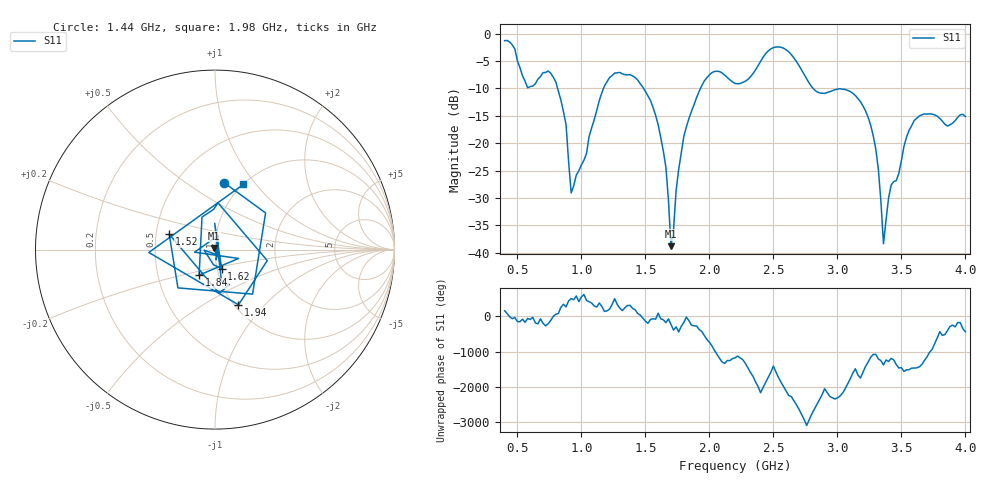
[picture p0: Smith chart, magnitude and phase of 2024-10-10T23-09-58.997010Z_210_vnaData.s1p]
! Created with skrf (http://scikit-rf.org).
# Hz S RI R 50.0
!freq ReS11 ImS11
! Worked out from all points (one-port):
!   181 points, 400 MHz to 4 GHz, reference 50 ohm
!   lowest |S11| = -38.8 dB at 1.7 GHz (marker M1), VSWR 1.02, Z = 49.2 + j0.846 ohm
!   |S11| at or under -10 dB: 813.8 MHz to 1.173 GHz (358.8 MHz wide, 36.1 % of centre); 1.486 GHz to 1.931 GHz (444.7 MHz wide, 26 % of centre); 2.81 GHz to end of sweep
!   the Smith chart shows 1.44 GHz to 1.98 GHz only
!   S11 on the Smith chart (normalised r, x): 1.44 GHz: 0.82, +0.72; 1.52 GHz: 0.59, +0.11; 1.62 GHz: 1.05, -0.23; 1.84 GHz: 0.81, -0.24; 1.94 GHz: 1.05, -0.72; 1.98 GHz: 1.00, +0.86
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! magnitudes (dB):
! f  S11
! 400 MHz  -1.3
! 580 MHz  -9.9
! 760 MHz  -7.2
! 860 MHz  -14.3
! 880 MHz  -16.6
! 920 MHz  -29.1
! 1.18 GHz  -9.6
! 1.3 GHz  -7.1
! 1.44 GHz  -8.5
! 1.52 GHz  -11.4
! 1.62 GHz  -19.0
! 1.66 GHz  -24.4
! 1.7 GHz  -38.8
! 1.76 GHz  -24.8
! 1.84 GHz  -15.5
! 1.94 GHz  -9.5
! 1.98 GHz  -8.1
! 2.2 GHz  -9.1
! 2.5 GHz  -2.6
! 2.66 GHz  -4.4
! 2.84 GHz  -10.6
! 3.1 GHz  -10.6
! 3.28 GHz  -18.7
! 3.32 GHz  -24.8
! 3.36 GHz  -38.4
! 3.42 GHz  -27.7
! 3.56 GHz  -17.7
! 4 GHz  -15.1
